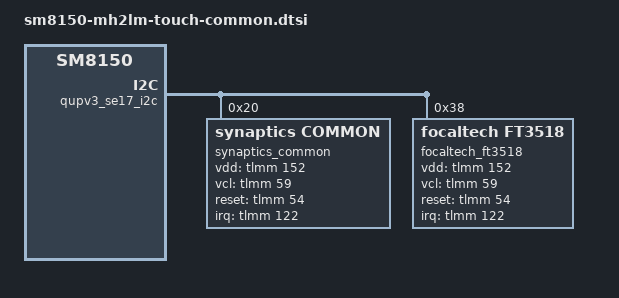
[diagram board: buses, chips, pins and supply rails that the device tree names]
/* Copyright (c) 2014, The Linux Foundation. All rights reserved.
 *
 * This program is free software; you can redistribute it and/or modify
 * it under the terms of the GNU General Public License version 2 and
 * only version 2 as published by the Free Software Foundation.
 *
 * This program is distributed in the hope that it will be useful,
 * but WITHOUT ANY WARRANTY; without even the implied warranty of
 * MERCHANTABILITY or FITNESS FOR A PARTICULAR PURPOSE.  See the
 * GNU General Public License for more details.
 */


&qupv3_se17_i2c {
	status = "okay";

	synaptics_common@20 {
		status = "ok";
		compatible = "synaptics,common";

		reg = <0x20>;
		interrupt-parent = <&tlmm>;
		interrupts = <122 0x2008>;
		irqflags = <0x00000002>;      // Falling-Edge Trigger
		//irqflags = <0x00000008>;        // Low-Level Trigger

		pinctrl-names = "touch_pin_active", "touch_pin_sleep";
		pinctrl-0 = <&ts_reset_active &ts_int_active>;
		pinctrl-1 = <&ts_reset_suspend &ts_int_suspend>;

		vdd-gpio = <&tlmm 152 0x00>;
		vcl-gpio = <&tlmm 59 0x00>;
		reset-gpio = <&tlmm 54 0x00>;
		irq-gpio = <&tlmm 122 0x2008>;

		/* Caps */
		max_x = <1079>;
		max_y = <2339>;
		max_pressure = <0xff>;
		max_width_major = <2339>;
		max_width_minor = <2339>;
		max_orientation = <90>;
		max_id = <10>;
		hw_reset_delay = <200>;
		sw_reset_delay = <200>;

		/* Role */
		use_lpwg = <1>;
		use_lpwg_test = <1>;
		hide_coordinate = <1>;
		use_film_status = <1>;

		/* Firmware */
		fw_image = "touch/mh2lm/main/tianma/PLG675-V0.25-PR3106505-s3618_DS6_60064119.img",
			 "touch/mh2lm/main/tovis/PLG674-V0.05-PR3005749-s3706b_BLV86_DS5.10.81.2_20064105.img",
			 "touch/mh2lm/main/tovis/PLG680-V1.05-PR3151223-s3706b_BLV86_DS5.10.81.2_20064185.img";
		panel_spec = "touch/mh2lm/main/tovis/mh2lm_synaptics_limit.txt";
		panel_spec_mfts_folder = "touch/mh2lm/main/tovis/mh2lm_synaptics_limit_mfts.txt";

		/* Performance Test */
		use_perf_test = <1>;
		test_delay = <8>;
		test_pressure = <50>;
		test_width = <100>;
		click_test_x = <180>;
		click_test_y = <756>;
		v_drag_test_x = <144>;
		v_drag_test_start_y = <1971>;
		v_drag_test_end_y = <1148>;
		h_drag_test_start_x = <1131>;
		h_drag_test_end_x = <308>;
		h_drag_test_y = <2184>;
	};

	focaltech_ft3518@38 {
		compatible = "focaltech,ft3518";
		status = "ok";

		reg = <0x38>;
		interrupt-parent = <&tlmm>;
		interrupts = <122 0x2008>;
		irqflags = <0x00000002>;

		pinctrl-names = "touch_pin_active", "touch_pin_sleep";
		pinctrl-0 = <&ts_reset_active &ts_int_active>;
		pinctrl-1 = <&ts_reset_suspend &ts_int_suspend>;

		vdd-gpio = <&tlmm 152 0x00>;
		vcl-gpio = <&tlmm 59 0x00>;
		reset-gpio = <&tlmm 54 0x00>;
		irq-gpio = <&tlmm 122 0x2008>;

		/* Caps */
		max_x = <1079>;
		max_y = <2251>;
		max_pressure = <0xff>;
		max_width_major = <2251>;
		max_width_minor = <2251>;
		max_orientation = <90>;
		max_id = <10>;
		hw_reset_delay = <300>;
		sw_reset_delay = <100>;

		/* Role */
		use_lpwg = <1>;
		use_lpwg_test = <1>;
		hide_coordinate = <1>;
		use_film_status = <1>;

		/* 1st firmware should be Pramboot firmware to upgrade another,
		   2nd firmware should be actual firmware that we want to be upgraded */
		fw_image = "touch/mh2lm/main/L0W55CV5_1_06.img",
			 "touch/mh2lm/main/L0W55CV5_1_06.img";
		panel_spec = "touch/mh2lm/main/mh2lm_focaltech_limit.txt";
		panel_spec_mfts_folder = "touch/mh2lm/main/mh2lm_focaltech_limit_mfts.txt";

		/* Performance Test */
		use_perf_test = <1>;
		test_delay = <8>;
		test_pressure = <50>;
		test_width = <100>;
		click_test_x = <180>;
		click_test_y = <756>;
		v_drag_test_x = <144>;
		v_drag_test_start_y = <1971>;
		v_drag_test_end_y = <1148>;
		h_drag_test_start_x = <1131>;
		h_drag_test_end_x = <308>;
		h_drag_test_y = <2184>;
	};

	synaptics_s3706@20 {
		status = "disable";
		compatible = "synaptics,s3706";

		reg = <0x20>;
		interrupt-parent = <&tlmm>;
		interrupts = <122 0x2008>;
		irqflags = <0x00000002>;

		vdd-gpio = <&tlmm 152 0x00>;
		vcl-gpio = <&tlmm 59 0x00>;
		reset-gpio = <&tlmm 54 0x00>;
		irq-gpio = <&tlmm 122 0x2008>;

		/* Caps */
		max_x = <1079>;
		max_y = <2339>;
		max_pressure = <0xff>;
		max_width_major = <2339>;
		max_width_minor = <2339>;
		max_orientation = <90>;
		max_id = <10>;
		hw_reset_delay = <100>;
		sw_reset_delay = <100>;

		/* Role */
		use_lpwg = <1>;
		use_lpwg_test = <1>;
		hide_coordinate = <0>;
		use_film_status = <1>;

		/* Firmware */
		fw_image = "touch/mh2lm/main/tovis/PLG674-V0.02-PR2958581-s3706b_BLV86_DS5.10.81.2_20064102.img";
		panel_spec = "touch/mh2lm/main/mh2lm_synaptics_limit.txt";
		panel_spec_mfts_folder = "touch/mh2lm/main/mh2lm_synaptics_limit_mfts.txt";

		/* Performance Test */
		use_perf_test = <1>;
		test_delay = <8>;
		test_pressure = <50>;
		test_width = <100>;
		click_test_x = <135>;
		click_test_y = <605>;
		v_drag_test_x = <108>;
		v_drag_test_start_y = <1514>;
		v_drag_test_end_y = <879>;
		h_drag_test_start_x = <857>;
		h_drag_test_end_x = <222>;
		h_drag_test_y = <1646>;
	};

};
